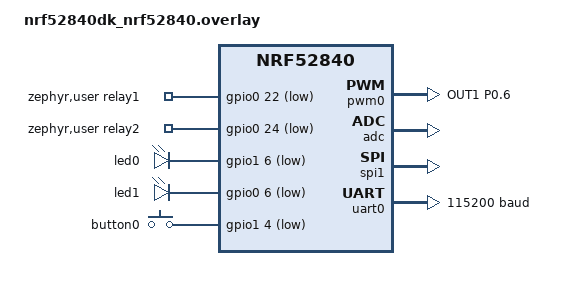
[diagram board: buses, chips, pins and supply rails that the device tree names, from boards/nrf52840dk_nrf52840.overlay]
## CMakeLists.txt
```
#
# Copyright (c) 2020 Nordic Semiconductor ASA
#
# SPDX-License-Identifier: LicenseRef-Nordic-5-Clause
#
cmake_minimum_required(VERSION 3.20.0)

find_package(Zephyr REQUIRED HINTS $ENV{ZEPHYR_BASE})

project(openthread_cli)

# NORDIC SDK APP START
target_sources(app PRIVATE src/main.c)
# NORDIC SDK APP END

target_sources_ifdef(CONFIG_CLI_SAMPLE_MULTIPROTOCOL app PRIVATE src/ble.c)
target_sources_ifdef(CONFIG_CLI_SAMPLE_LOW_POWER app PRIVATE src/low_power.c)
target_sources(app PRIVATE src/adc_task.c)
target_sources(app PRIVATE src/lcd_task.c)


if (CONFIG_CLI_SAMPLE_MULTIPROTOCOL AND CONFIG_OPENTHREAD_BLE_TCAT)
        message( FATAL_ERROR "Multiprotocol support and TCAT functionality are not compatible." )
endif()
```

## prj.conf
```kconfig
#
# Copyright (c) 2020 Nordic Semiconductor
#
# SPDX-License-Identifier: LicenseRef-Nordic-5-Clause
#

# Enable OpenThread
CONFIG_OPENTHREAD=y

# Network shell
CONFIG_SHELL=y
CONFIG_OPENTHREAD_SHELL=y
CONFIG_SHELL_ARGC_MAX=26
CONFIG_SHELL_CMD_BUFF_SIZE=416

# Increase Settings storage size
CONFIG_PM_PARTITION_SIZE_SETTINGS_STORAGE=0x8000

# Enable OpenThread features set
CONFIG_OPENTHREAD_NORDIC_LIBRARY_MASTER=y

CONFIG_GPIO_SHELL=y

# Logging configuration
CONFIG_LOG=y
# CONFIG_LOG_DEFAULT_LEVEL=4

# ADC configuration
CONFIG_ADC=y
CONFIG_ADC_LOG_LEVEL_DBG=y

# SPI configuration for LCD
CONFIG_SPI=y
CONFIG_GPIO=y

# CONFIG_CLI_SAMPLE_MULTIPROTOCOL=y
CONFIG_CLI_SAMPLE_LOW_POWER=y
CONFIG_PM_DEVICE=y

CONFIG_THREAD_ANALYZER=y
CONFIG_THREAD_ANALYZER_USE_PRINTK=y
# CONFIG_THREAD_ANALYZER_AUTO=y
# CONFIG_THREAD_ANALYZER_AUTO_INTERVAL=5 
```

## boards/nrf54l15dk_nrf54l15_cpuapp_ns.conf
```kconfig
#
# Copyright (c) 2024 Nordic Semiconductor
#
# SPDX-License-Identifier: LicenseRef-Nordic-5-Clause
#

# Disable the unsupported driver
CONFIG_NRFX_UARTE0=n

# Avoid double fault / lockup: main runs lcd_task_enable() with deep init stack
CONFIG_MAIN_STACK_SIZE=6144
CONFIG_SHELL_STACK_SIZE=5120
```

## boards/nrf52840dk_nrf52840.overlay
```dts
/*
 * Copyright (c) 2021-2022 Nordic Semiconductor ASA
 *
 * SPDX-License-Identifier: LicenseRef-Nordic-5-Clause
 */

 / {
	chosen {
		nordic,pm-ext-flash = &mx25r64;
	};

		/*
	* In some default configurations within the nRF Connect SDK,
	* e.g. on nRF52840, the chosen zephyr,entropy node is &cryptocell.
	* This devicetree overlay ensures that default is overridden wherever it
	* is set, as this application uses the RNG node for entropy exclusively.
	*/

	chosen {
		zephyr,entropy = &rng;
	};


	/*
	* By default, PWM module is only configured for led0 (LED1 on the board).
	* The light bulb app, however, uses LED2 to show the state of the lighting,
	* including its brightness level.
	*/
	aliases {
		pwm-led1 = &pwm_led1;
	};

	/* Relay control pins - use zephyr,user node for custom GPIO configuration */
	zephyr,user {
		relay1-gpios = <&gpio0 22 GPIO_ACTIVE_LOW>;
		relay2-gpios = <&gpio0 24 GPIO_ACTIVE_LOW>;
	};

	pwmleds {
		pwm_led1: pwm_led_1 {
			pwms = <&pwm0 1 PWM_MSEC(100) PWM_POLARITY_NORMAL>;
		};
	};

};

&pwm0 {
	pinctrl-0 = <&pwm0_default_alt>;
	pinctrl-1 = <&pwm0_sleep_alt>;
	pinctrl-names = "default", "sleep";
};

&pinctrl {
	pwm0_default_alt: pwm0_default_alt {
		group1 {
			psels = <NRF_PSEL(PWM_OUT1, 0, 6)>;
			nordic,invert;
		};
	};

	pwm0_sleep_alt: pwm0_sleep_alt {
		group1 {
			psels = <NRF_PSEL(PWM_OUT1, 0, 6)>;
			low-power-enable;
		};
	};

};

/* Disable unused peripherals to reduce power consumption */
&adc {
	status = "okay";
};
&uart1 {
	status = "disabled";
};
&i2c0 {
	status = "disabled";
};
/* Enable SPI1 for LCD display (ST7735S) */
&spi1 {
	status = "okay";
	compatible = "nordic,nrf-spim";
	pinctrl-0 = <&spi1_default>;
	pinctrl-names = "default";
	/* Note: Configure actual pins based on hardware connection
	 * Default pins for nRF52840DK:
	 * - SCK: P0.13
	 * - MOSI: P0.15
	 * - MISO: P0.14 (not used for LCD)
	 */
};
&spi3 {
	status = "disabled";
};
&usbd {
	status = "disabled";
};

&uart0 {
	current-speed = <115200>;
};

&led0 {
	gpios = <&gpio1 6 GPIO_ACTIVE_LOW>;
};
&led1 {
	gpios = <&gpio0 6 GPIO_ACTIVE_LOW>;
};
/* Disable led2 and led3 since they are now used as relay control pins */
&led2 {
	status = "disabled";
};

&led3 {
	status = "disabled";
};

&button0 {
	gpios = <&gpio1 4 GPIO_ACTIVE_LOW>;
	status = "okay";
};
```

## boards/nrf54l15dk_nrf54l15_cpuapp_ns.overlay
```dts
/*
 * Copyright (c) 2024 Nordic Semiconductor ASA
 *
 * SPDX-License-Identifier: LicenseRef-Nordic-5-Clause
 */

// restore full RRAM and SRAM space - by default some parts are dedicated to FLPR
&cpuapp_rram {
	reg = <0x0 DT_SIZE_K(1524)>;
};

&cpuapp_sram {
	reg = <0x20000000 DT_SIZE_K(256)>;
	ranges = <0x0 0x20000000 DT_SIZE_K(256)>;
};

&adc {
	status = "okay";
};

/* SPI21 for LCD (ST7735S): fixed hardware SCK=P0.4, MOSI=P0.3, MISO=P0.2.
 * Button3 moved to gpio2.8 below so P0.4 is free for SPI. */
&pinctrl {
	spi21_default: spi21_default {
		group1 {
			psels = <NRF_PSEL(SPIM_SCK, 1, 7)>,
				<NRF_PSEL(SPIM_MOSI, 1, 9)>,
				<NRF_PSEL(SPIM_MISO, 1, 14)>;
		};
	};
	spi21_sleep: spi21_sleep {
		group1 {
			psels = <NRF_PSEL(SPIM_SCK, 1, 7)>,
				<NRF_PSEL(SPIM_MOSI, 1, 9)>,
				<NRF_PSEL(SPIM_MISO, 1, 14)>;
				low-power-enable;
		};
	};

	uart20_default: uart20_default {
		group1 {
			psels = <NRF_PSEL(UART_TX, 1, 4)>;
				// <NRF_PSEL(UART_RTS, 1, 6)>;
		};

		group2 {
			psels = <NRF_PSEL(UART_RX, 1, 5)>;
				// <NRF_PSEL(UART_CTS, 1, 7)>;
			bias-pull-up;
		};
	};

	uart20_sleep: uart20_sleep {
		group1 {
			psels = <NRF_PSEL(UART_TX, 1, 4)>,
				<NRF_PSEL(UART_RX, 1, 5)>;
				// <NRF_PSEL(UART_RTS, 1, 6)>,
				// <NRF_PSEL(UART_CTS, 1, 7)>;
			low-power-enable;
		};
	};
};



&spi21 {
	status = "okay";
	cs-gpios = <&gpio1 6 GPIO_ACTIVE_LOW>;
	pinctrl-0 = <&spi21_default>;
	pinctrl-1 = <&spi21_sleep>;
	pinctrl-names = "default", "sleep";
};

/ {
	zephyr,user {
		io-channels = <&adc 3>, <&adc 5>;
	};
};

&button1 {
	status = "disabled";
};

&button3 {
	status = "disabled";
};

&pwm20 {
	status = "disabled";
};

&led1 {
	status = "disabled";
};

&led3 {
	status = "disabled";
};


&cpuapp_systick {
	status = "okay";
};
```

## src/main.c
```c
/*
 * Copyright (c) 2020 Nordic Semiconductor ASA
 *
 * SPDX-License-Identifier: LicenseRef-Nordic-5-Clause
 */

#include <zephyr/kernel.h>
#include <zephyr/logging/log.h>

#if defined(CONFIG_CLI_SAMPLE_MULTIPROTOCOL)
#include "ble.h"
#endif

#if defined(CONFIG_CLI_SAMPLE_LOW_POWER)
#include "low_power.h"
#endif

#include "adc_task.h"
#include "lcd_task.h"

#include <zephyr/drivers/uart.h>
#include <zephyr/usb/usb_device.h>

LOG_MODULE_REGISTER(cli_sample, CONFIG_OT_COMMAND_LINE_INTERFACE_LOG_LEVEL);

#define WELLCOME_TEXT \
	"\n\r"\
	"\n\r"\
	"OpenThread Command Line Interface is now running.\n\r" \
	"Use the 'ot' keyword to invoke OpenThread commands e.g. " \
	"'ot thread start.'\n\r" \
	"For the full commands list refer to the OpenThread CLI " \
	"documentation at:\n\r" \
	"https://github.com/openthread/openthread/blob/master/src/cli/README.md\n\r"

int main(void)
{
#if DT_NODE_HAS_COMPAT(DT_CHOSEN(zephyr_shell_uart), zephyr_cdc_acm_uart)
	int ret;
	const struct device *dev;
	uint32_t dtr = 0U;

	ret = usb_enable(NULL);
	if (ret != 0 && ret != -EALREADY) {
		LOG_ERR("Failed to enable USB");
		return 0;
	}

	dev = DEVICE_DT_GET(DT_CHOSEN(zephyr_shell_uart));
	if (dev == NULL) {
		LOG_ERR("Failed to find specific UART device");
		return 0;
	}

	LOG_INF("Waiting for host to be ready to communicate");

	/* Data Terminal Ready - check if host is ready to communicate */
	while (!dtr) {
		ret = uart_line_ctrl_get(dev, UART_LINE_CTRL_DTR, &dtr);
		if (ret) {
			LOG_ERR("Failed to get Data Terminal Ready line state: %d",
				ret);
			continue;
		}
		k_msleep(100);
	}

	/* Data Carrier Detect Modem - mark connection as established */
	(void)uart_line_ctrl_set(dev, UART_LINE_CTRL_DCD, 1);
	/* Data Set Ready - the NCP SoC is ready to communicate */
	(void)uart_line_ctrl_set(dev, UART_LINE_CTRL_DSR, 1);
#endif

	LOG_INF(WELLCOME_TEXT);

#if defined(CONFIG_CLI_SAMPLE_MULTIPROTOCOL)
	ble_enable();
#endif

#if defined(CONFIG_CLI_SAMPLE_LOW_POWER)
	low_power_enable();
#endif

	adc_task_enable();

	lcd_task_enable();

	return 0;
}
```

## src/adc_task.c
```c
/*
 * Copyright (c) 2024 Nordic Semiconductor ASA
 *
 * SPDX-License-Identifier: LicenseRef-Nordic-5-Clause
 */

#include <zephyr/kernel.h>
#include <zephyr/drivers/adc.h>
#include <zephyr/logging/log.h>
#include <zephyr/device.h>
#include <zephyr/dt-bindings/adc/nrf-saadc.h>
#include <zephyr/shell/shell.h>
#include <stdio.h>

#include "adc_task.h"

LOG_MODULE_REGISTER(adc_task, LOG_LEVEL_DBG);

#define ADC_NODE				DT_NODELABEL(adc)
#define ADC_RESOLUTION			12
#define ADC_GAIN				ADC_GAIN_1_3
#define ADC_REFERENCE			ADC_REF_INTERNAL
#define ADC_ACQUISITION_TIME	ADC_ACQ_TIME_DEFAULT
#define ADC_CHANNEL_4			3
#define ADC_CHANNEL_5			5
#define ADC_POLL_INTERVAL_MS	1000
#define CHANNEL_COUNT			2

static const struct device *adc_dev = DEVICE_DT_GET(ADC_NODE);

static struct adc_channel_cfg channel_cfgs[CHANNEL_COUNT] = {
	{
		.gain = ADC_GAIN,
		.reference = ADC_REFERENCE,
		.acquisition_time = ADC_ACQUISITION_TIME,
		.channel_id = ADC_CHANNEL_4,
		.differential = 0,
#ifdef CONFIG_ADC_CONFIGURABLE_INPUTS
		.input_positive = NRF_SAADC_AIN4,
#endif
	},
	{
		.gain = ADC_GAIN,
		.reference = ADC_REFERENCE,
		.acquisition_time = ADC_ACQUISITION_TIME,
		.channel_id = ADC_CHANNEL_5,
		.differential = 0,
#ifdef CONFIG_ADC_CONFIGURABLE_INPUTS
		.input_positive = NRF_SAADC_AIN5,
#endif
	}
};

static uint32_t vrefs_mv[CHANNEL_COUNT] = {0, 0};

static int16_t channel_reading[CHANNEL_COUNT];

/* Latest ADC values for shell command access */
static struct {
	int16_t raw[CHANNEL_COUNT];
	int32_t mv[CHANNEL_COUNT];
	bool valid[CHANNEL_COUNT];
	struct k_mutex mutex;
} adc_values;

static const struct adc_sequence_options options = {
	.extra_samplings = 0,
	.interval_us = 0,
};

static struct adc_sequence sequence = {
	.buffer = channel_reading,
	.buffer_size = sizeof(channel_reading),
	.resolution = ADC_RESOLUTION,
	.options = &options,
};

static void adc_task_thread(void *p1, void *p2, void *p3)
{
	int ret;
	uint32_t count = 0;

	if (!device_is_ready(adc_dev)) {
		printf("ADC controller device %s not ready\n", adc_dev->name);
		return;
	}

	/* Configure channels individually prior to sampling. */
	sequence.channels = 0;
	for (size_t i = 0U; i < CHANNEL_COUNT; i++) {
		sequence.channels |= BIT(channel_cfgs[i].channel_id);
		
		printf("Setting up ADC channel %d (index %u)...\n", 
		       channel_cfgs[i].channel_id, (unsigned int)i);
		
		ret = adc_channel_setup(adc_dev, &channel_cfgs[i]);
		if (ret != 0) {
			printf("Failed to setup channel %d (index %u), error: %d\n", 
			       channel_cfgs[i].channel_id, (unsigned int)i, ret);
			return;
		}
		
		printf("Channel %d setup successful\n", channel_cfgs[i].channel_id);
		
		if ((vrefs_mv[i] == 0) && (channel_cfgs[i].reference == ADC_REF_INTERNAL)) {
			vrefs_mv[i] = adc_ref_internal(adc_dev);
			printf("Internal reference voltage for channel %d: %u mV\n",
			       channel_cfgs[i].channel_id, vrefs_mv[i]);
		}
	}

	printf("ADC task started, polling channels 4 and 5 every %d ms\n",
		ADC_POLL_INTERVAL_MS);
	printf("ADC device: %s\n", adc_dev->name);

	while (1) {
		// printf("ADC sequence reading [%u]:\n", count++);
		k_msleep(ADC_POLL_INTERVAL_MS);

		ret = adc_read(adc_dev, &sequence);
		if (ret < 0) {
			printf("Could not read (%d)\n", ret);
			continue;
		}

		/* Update ADC values for shell command access */
		k_mutex_lock(&adc_values.mutex, K_FOREVER);
		for (size_t channel_index = 0U; channel_index < CHANNEL_COUNT; channel_index++) {
			int32_t val_mv = channel_reading[channel_index];

			/* Store raw value */
			adc_values.raw[channel_index] = channel_reading[channel_index];

			ret = adc_raw_to_millivolts(vrefs_mv[channel_index],
						    channel_cfgs[channel_index].gain,
						    ADC_RESOLUTION, &val_mv);

			/* Store converted value if available */
			if ((ret >= 0) && (vrefs_mv[channel_index] != 0)) {
				adc_values.mv[channel_index] = val_mv;
				adc_values.valid[channel_index] = true;
			} else {
				adc_values.valid[channel_index] = false;
			}
		}
		
		k_mutex_unlock(&adc_values.mutex);
	}
}

#define ADC_TASK_STACK_SIZE 1024
#define ADC_TASK_PRIORITY 5

/* Thread stack and control block */
K_THREAD_STACK_DEFINE(adc_task_stack, ADC_TASK_STACK_SIZE);
static struct k_thread adc_task_thread_data;
static bool adc_task_started = false;

static int cmd_adc_show(const struct shell *sh, size_t argc, char **argv)
{
	k_mutex_lock(&adc_values.mutex, K_FOREVER);
	
	shell_print(sh, "ADC Channel Values:");
	shell_print(sh, "===================");
	
	for (size_t i = 0U; i < CHANNEL_COUNT; i++) {
		shell_print(sh, "Channel %d:", channel_cfgs[i].channel_id);
		shell_print(sh, "  Raw value: %d", adc_values.raw[i]);
		
		if (adc_values.valid[i]) {
			shell_print(sh, "  Voltage: %d mV", adc_values.mv[i]);
		} else {
			shell_print(sh, "  Voltage: (not available)");
		}
	}
	
	k_mutex_unlock(&adc_values.mutex);
	
	thread_analyzer_print();
	return 0;
}

SHELL_CMD_REGISTER(adc, NULL, "Show ADC channel values", cmd_adc_show);

size_t adc_task_get_values(int16_t *raw, int32_t *mv, bool *valid, size_t max_count)
{
	size_t n = (max_count < CHANNEL_COUNT) ? max_count : CHANNEL_COUNT;

	if (raw == NULL && mv == NULL && valid == NULL) {
		return n;
	}

	k_mutex_lock(&adc_values.mutex, K_FOREVER);
	for (size_t i = 0; i < n; i++) {
		if (raw != NULL) {
			raw[i] = adc_values.raw[i];
		}
		if (mv != NULL) {
			mv[i] = adc_values.mv[i];
		}
		if (valid != NULL) {
			valid[i] = adc_values.valid[i];
		}
	}
	k_mutex_unlock(&adc_values.mutex);

	return n;
}

void adc_task_enable(void)
{
	if (adc_task_started) {
		printf("ADC task already started\n");
		return;
	}

	/* Initialize mutex for ADC values */
	k_mutex_init(&adc_values.mutex);
	
	/* Initialize ADC values */
	for (size_t i = 0U; i < CHANNEL_COUNT; i++) {
		adc_values.valid[i] = false;
		adc_values.raw[i] = 0;
		adc_values.mv[i] = 0;
	}

	/* Create and start the ADC task thread */
	k_thread_create(&adc_task_thread_data, adc_task_stack,
			K_THREAD_STACK_SIZEOF(adc_task_stack),
			adc_task_thread, NULL, NULL, NULL,
			ADC_TASK_PRIORITY, 0, K_NO_WAIT);
	
	k_thread_name_set(&adc_task_thread_data, "adc_task");
	adc_task_started = true;
	printf("ADC task enabled and started\n");
}
```

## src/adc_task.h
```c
/**
 * @file
 * @defgroup adc_task ADC Task API
 * @{
 */

/*
 * Copyright (c) 2024 Nordic Semiconductor ASA
 *
 * SPDX-License-Identifier: LicenseRef-Nordic-5-Clause
 */

#ifndef __ADC_TASK_H__
#define __ADC_TASK_H__

#include <stddef.h>
#include <stdint.h>
#include <stdbool.h>

#define ADC_TASK_CHANNEL_COUNT 2

/** @brief Initialize and start ADC polling task.
 */
void adc_task_enable(void);

/** @brief Get latest ADC values (raw, mV, valid). Caller provides arrays of at least max_count.
 *  @return Number of channels copied (min of max_count and ADC_TASK_CHANNEL_COUNT).
 */
size_t adc_task_get_values(int16_t *raw, int32_t *mv, bool *valid, size_t max_count);

#endif

/**
 * @}
 */
```

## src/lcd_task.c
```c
/*
 * Copyright (c) 2024 Nordic Semiconductor ASA
 *
 * SPDX-License-Identifier: LicenseRef-Nordic-5-Clause
 */

#include <zephyr/kernel.h>
#include <zephyr/drivers/spi.h>
#include <zephyr/drivers/gpio.h>
#include <zephyr/logging/log.h>
#include <zephyr/device.h>
#include <zephyr/shell/shell.h>
#include <stdio.h>
#include <string.h>

#include "lcd_task.h"
#include "adc_task.h"

LOG_MODULE_REGISTER(lcd_task, LOG_LEVEL_DBG);

/* 5x7 字体：每字符 5 列 x 7 行，5 字节/字符(列主序，每字节 bit0=上)。仅含 0-9 空格 C h : m V . - */
#define FONT_W  5
#define FONT_H  7
static const uint8_t font_5x7[][5] = {
	{ 0x00, 0x00, 0x00, 0x00, 0x00 }, /* space */
	{ 0x7B, 0x45, 0x45, 0x45, 0x7B }, /* 0 */
	{ 0x00, 0x42, 0x7F, 0x40, 0x00 }, /* 1 */
	{ 0x62, 0x51, 0x49, 0x49, 0x46 }, /* 2 */
	{ 0x22, 0x49, 0x49, 0x49, 0x36 }, /* 3 */
	{ 0x18, 0x14, 0x12, 0x7F, 0x10 }, /* 4 */
	{ 0x27, 0x45, 0x45, 0x45, 0x39 }, /* 5 */
	{ 0x3E, 0x49, 0x49, 0x49, 0x32 }, /* 6 */
	{ 0x01, 0x71, 0x09, 0x05, 0x03 }, /* 7 */
	{ 0x36, 0x49, 0x49, 0x49, 0x36 }, /* 8 */
	{ 0x26, 0x49, 0x49, 0x49, 0x3E }, /* 9 */
	{ 0x3E, 0x41, 0x41, 0x41, 0x22 }, /* C */
	{ 0x7F, 0x08, 0x04, 0x04, 0x78 }, /* h */
	{ 0x00, 0x36, 0x36, 0x00, 0x00 }, /* : */
	{ 0x7C, 0x04, 0x78, 0x04, 0x78 }, /* m */
	{ 0x1C, 0x20, 0x40, 0x20, 0x1C }, /* V */
	{ 0x00, 0x60, 0x60, 0x00, 0x00 }, /* . */
	{ 0x08, 0x08, 0x08, 0x08, 0x08 }, /* - */
};
#define FONT_INDEX_SPACE 0
#define FONT_INDEX_0     1
#define FONT_INDEX_9     10
#define FONT_INDEX_C    11
#define FONT_INDEX_h    12
#define FONT_INDEX_COL  13
#define FONT_INDEX_m    14
#define FONT_INDEX_V    15
#define FONT_INDEX_DOT  16
#define FONT_INDEX_MINUS 17

static uint8_t char_to_font_index(char c)
{
	if (c == ' ') return FONT_INDEX_SPACE;
	if (c >= '0' && c <= '9') return FONT_INDEX_0 + (c - '0');
	if (c == 'C') return FONT_INDEX_C;
	if (c == 'h') return FONT_INDEX_h;
	if (c == ':') return FONT_INDEX_COL;
	if (c == 'm') return FONT_INDEX_m;
	if (c == 'V') return FONT_INDEX_V;
	if (c == '.') return FONT_INDEX_DOT;
	if (c == '-') return FONT_INDEX_MINUS;
	return FONT_INDEX_SPACE;
}

/* LCD尺寸定义 (逻辑宽高，与 MADCTL 方向一致) */
#define LCD_WIDTH  160
#define LCD_HEIGHT 80

/* ST7735S 160x80 常见模块：控制器 80 列 x 160 行，MV=1 时显示为 160x80。
 * 列/行偏移：多数 0.96 寸模块为 col_offset=26, row_offset=1，仅右半屏时请试 26/1 或 24/0。 */
#define LCD_COL_OFFSET  26
#define LCD_ROW_OFFSET  1

/* ST7735S命令定义 */
#define ST7735_NOP        0x00
#define ST7735_SWRESET    0x01
#define ST7735_RDDID      0x04
#define ST7735_RDDST      0x09
#define ST7735_SLPIN      0x10
#define ST7735_SLPOUT     0x11
#define ST7735_PTLON      0x12
#define ST7735_NORON      0x13
#define ST7735_INVOFF     0x20
#define ST7735_INVON      0x21
#define ST7735_DISPOFF    0x28
#define ST7735_DISPON     0x29
#define ST7735_CASET      0x2A
#define ST7735_RASET      0x2B
#define ST7735_RAMWR      0x2C
#define ST7735_RAMRD      0x2E
#define ST7735_PTLAR      0x30
#define ST7735_COLMOD     0x3A
#define ST7735_MADCTL     0x36
#define ST7735_FRMCTR1    0xB1
#define ST7735_FRMCTR2    0xB2
#define ST7735_FRMCTR3    0xB3
#define ST7735_INVCTR     0xB4
#define ST7735_DISSET5    0xB6
#define ST7735_PWCTR1     0xC0
#define ST7735_PWCTR2     0xC1
#define ST7735_PWCTR3     0xC2
#define ST7735_PWCTR4     0xC3
#define ST7735_PWCTR5     0xC4
#define ST7735_VMCTR1     0xC5
#define ST7735_RDID1      0xDA
#define ST7735_RDID2      0xDB
#define ST7735_RDID3      0xDC
#define ST7735_RDID4      0xDD
#define ST7735_PWCTR6     0xFC
#define ST7735_GMCTRP1    0xE0
#define ST7735_GMCTRN1    0xE1

/* 颜色定义 (RGB565格式) */
#define COLOR_BLACK       0x0000
#define COLOR_BLUE        0x001F
#define COLOR_RED         0xF800
#define COLOR_GREEN       0x07E0
#define COLOR_CYAN        0x07FF
#define COLOR_MAGENTA     0xF81F
#define COLOR_YELLOW      0xFFE0
#define COLOR_WHITE       0xFFFF

/* 设备树节点定义 - 需要在overlay文件中配置 */
/* 对于nRF54L15使用spi20，对于nRF52840使用spi1 */
#if DT_NODE_EXISTS(DT_NODELABEL(spi21))
#define SPI_NODE           DT_NODELABEL(spi21)
#elif DT_NODE_EXISTS(DT_NODELABEL(spi1))
#define SPI_NODE           DT_NODELABEL(spi1)
#else
#error "No suitable SPI device found. Please configure SPI in device tree."
#endif
/* GPIO节点 - 对于nRF54L15使用gpio00，对于nRF52840使用gpio0 */
#if DT_NODE_EXISTS(DT_NODELABEL(gpio1))
#define GPIO_NODE          DT_NODELABEL(gpio1)
#elif DT_NODE_EXISTS(DT_NODELABEL(gpio0))
#define GPIO_NODE          DT_NODELABEL(gpio0)
#else
#error "No suitable GPIO device found."
#endif

/* GPIO引脚定义 - 需要在overlay文件中配置，这里使用默认值 */
/* 用户需要根据实际硬件连接修改这些引脚号 */
#define LCD_CS_PIN         6
#define LCD_DC_PIN         10
#define LCD_RST_PIN        11

static const struct device *spi_dev = DEVICE_DT_GET(SPI_NODE);
static const struct device *gpio_dev = DEVICE_DT_GET(GPIO_NODE);

/* ST7735S 4-line SPI: TSCYCW min 66ns -> max 15MHz (Section 8.4 Table 7);
 * SDA sampled at SCL rising edge -> Mode 0 (CPOL=0, CPHA=0), MSB first.
 */
static struct spi_config spi_cfg = {
	.frequency = 8000000,  /* 15 MHz, datasheet max for write (1/66ns) */
	.operation = SPI_OP_MODE_MASTER | SPI_WORD_SET(8) | SPI_TRANSFER_MSB,
};

static bool lcd_initialized = false;

/* 发送命令 */
static void lcd_write_cmd(uint8_t cmd)
{
	struct spi_buf tx_buf = {
		.buf = &cmd,
		.len = 1,
	};
	struct spi_buf_set tx_buf_set = {
		.buffers = &tx_buf,
		.count = 1,
	};

	/* CS拉低 */
	gpio_pin_set_raw(gpio_dev, LCD_CS_PIN, 0);
	/* DC = 0 for command */
	gpio_pin_set_raw(gpio_dev, LCD_DC_PIN, 0);
	
	spi_write(spi_dev, &spi_cfg, &tx_buf_set);
	
	/* CS拉高 */
	gpio_pin_set_raw(gpio_dev, LCD_CS_PIN, 1);
}

/* 发送数据 */
static void lcd_write_data(uint8_t data)
{
	struct spi_buf tx_buf = {
		.buf = &data,
		.len = 1,
	};
	struct spi_buf_set tx_buf_set = {
		.buffers = &tx_buf,
		.count = 1,
	};

	/* CS拉低 */
	gpio_pin_set_raw(gpio_dev, LCD_CS_PIN, 0);
	/* DC = 1 for data */
	gpio_pin_set_raw(gpio_dev, LCD_DC_PIN, 1);
	
	spi_write(spi_dev, &spi_cfg, &tx_buf_set);
	
	/* CS拉高 */
	gpio_pin_set_raw(gpio_dev, LCD_CS_PIN, 1);
}

/* 发送多个数据字节 */
static void lcd_write_data_buf(const uint8_t *data, size_t len)
{
	struct spi_buf tx_buf = {
		.buf = (void *)data,
		.len = len,
	};
	struct spi_buf_set tx_buf_set = {
		.buffers = &tx_buf,
		.count = 1,
	};

	/* CS拉低 */
	gpio_pin_set_raw(gpio_dev, LCD_CS_PIN, 0);
	/* DC = 1 for data */
	gpio_pin_set_raw(gpio_dev, LCD_DC_PIN, 1);
	
	spi_write(spi_dev, &spi_cfg, &tx_buf_set);
	
	/* CS拉高 */
	gpio_pin_set_raw(gpio_dev, LCD_CS_PIN, 1);
}

/* 设置显示窗口。MADCTL 0xC8 含 MV=1，逻辑 x=控制器行、y=控制器列，故 CASET 用 y、RASET 用 x，并加偏移。 */
static void lcd_set_window(uint8_t x0, uint8_t y0, uint8_t x1, uint8_t y1)
{
	uint8_t cs0 = LCD_COL_OFFSET + y0;
	uint8_t cs1 = LCD_COL_OFFSET + y1;
	uint8_t rs0 = LCD_ROW_OFFSET + x0;
	uint8_t rs1 = LCD_ROW_OFFSET + x1;

	lcd_write_cmd(ST7735_CASET);
	lcd_write_data(0x00);
	lcd_write_data(cs0);
	lcd_write_data(0x00);
	lcd_write_data(cs1);

	lcd_write_cmd(ST7735_RASET);
	lcd_write_data(0x00);
	lcd_write_data(rs0);
	lcd_write_data(0x00);
	lcd_write_data(rs1);

	lcd_write_cmd(ST7735_RAMWR);
}

/* 填充矩形区域 */
static void lcd_fill_rect(uint8_t x, uint8_t y, uint8_t w, uint8_t h, uint16_t color)
{
	uint8_t x1 = x + w - 1;
	uint8_t y1 = y + h - 1;
	uint32_t pixel_count = w * h;
	uint8_t color_bytes[2] = {(color >> 8) & 0xFF, color & 0xFF};

	if (x1 >= LCD_WIDTH || y1 >= LCD_HEIGHT) {
		return;
	}

	lcd_set_window(x, y, x1, y1);

	/* 使用静态缓冲区，避免动态分配内存 */
	#define MAX_BUF_SIZE 320  /* 160像素 * 2字节 */
	static uint8_t buffer[MAX_BUF_SIZE];
	uint32_t bytes_to_send = pixel_count * 2;
	uint32_t offset = 0;

	/* 分批发送数据，避免缓冲区溢出 */
	while (offset < bytes_to_send) {
		uint32_t chunk_size = (bytes_to_send - offset > MAX_BUF_SIZE) ? 
		                      MAX_BUF_SIZE : (bytes_to_send - offset);
		uint32_t pixels_in_chunk = chunk_size / 2;

		/* 填充缓冲区 */
		for (uint32_t i = 0; i < pixels_in_chunk; i++) {
			buffer[i * 2] = color_bytes[0];
			buffer[i * 2 + 1] = color_bytes[1];
		}

		/* 发送数据 */
		lcd_write_data_buf(buffer, chunk_size);
		offset += chunk_size;
	}
}

/* 清屏 */
static void lcd_clear(uint16_t color)
{
	lcd_fill_rect(0, 0, LCD_WIDTH, LCD_HEIGHT, color);
}

/* 画单字符 5x7，左上角 (x,y)，fg/bg 为 RGB565。
 * MADCTL 0xC8：MX=1 使逻辑列小的一侧显示在右，故对“绘制列位置”做镜像；MY=1 用反序送行补偿。 */
static void lcd_draw_char(uint8_t x, uint8_t y, char c, uint16_t fg, uint16_t bg)
{
	uint8_t idx = char_to_font_index(c);
	static uint8_t col_buf[FONT_H * 2];

	for (uint8_t col = 0; col < FONT_W; col++) {
		uint8_t bits = font_5x7[idx][col];  /* 字模列按正常顺序读 */
		/* 左右镜像：MX=1 时小 x 显示在右，故字模左列(col=0)画到 x+4，右列(col=4)画到 x+0 */
		uint8_t draw_col = col;
		/* 上下镜像：MY=1 时先送像素显示在下，送像素顺序为 row 6..0 */
		for (uint8_t i = 0; i < FONT_H; i++) {
			uint8_t row = FONT_H - 1 - i;
			uint16_t color = (bits & (1U << row)) ? fg : bg;
			col_buf[i * 2] = (color >> 8) & 0xFF;
			col_buf[i * 2 + 1] = color & 0xFF;
		}
		lcd_set_window(x + draw_col, y, x + draw_col, y + FONT_H - 1);
		lcd_write_data_buf(col_buf, sizeof(col_buf));
	}
}

/* 画字符串，左上角 (x,y)，fg/bg RGB565，字符间距 1 像素 */
static void lcd_draw_string(uint8_t x, uint8_t y, const char *str, uint16_t fg, uint16_t bg)
{
	while (*str && x + FONT_W <= LCD_WIDTH) {
		lcd_draw_char(x, y, *str++, fg, bg);
		x += FONT_W + 1;
	}
}

/* ADC 显示区域：物理顶部 22 像素，两行文字。MADCTL MY=1 时逻辑 y 小在屏下方，故用偏移使区域在屏顶 */
#define ADC_DISPLAY_HEIGHT  22
#define ADC_LINE0_Y         2
#define ADC_LINE1_Y         12
#define ADC_DISPLAY_Y_OFFSET  (LCD_HEIGHT - ADC_DISPLAY_HEIGHT)  /* 58：区域放在逻辑顶部=物理底部之上 */

/* 将当前 ADC 采样值显示到 LCD 物理顶部 */
void lcd_show_adc(void)
{
	int16_t raw[ADC_TASK_CHANNEL_COUNT];
	int32_t mv[ADC_TASK_CHANNEL_COUNT];
	bool valid[ADC_TASK_CHANNEL_COUNT];
	char buf[20];
	static const uint8_t channel_ids[] = { 4, 5 }; /* 与 overlay io-channels 一致 */

	if (!lcd_initialized) {
		return;
	}

	adc_task_get_values(raw, mv, valid, ADC_TASK_CHANNEL_COUNT);

	/* 清空显示区域（在物理顶部，即逻辑 y 大的一端） */
	lcd_fill_rect(0, ADC_DISPLAY_Y_OFFSET, LCD_WIDTH, ADC_DISPLAY_HEIGHT, COLOR_BLACK);

	for (size_t i = 0; i < ADC_TASK_CHANNEL_COUNT; i++) {
		uint8_t line_y = (i == 0) ? ADC_LINE0_Y : ADC_LINE1_Y;
		uint8_t y = ADC_DISPLAY_Y_OFFSET + line_y;
		if (valid[i]) {
			snprintf(buf, sizeof(buf), "Ch%u: %d mV", (unsigned)channel_ids[i], (int)mv[i]);
		} else {
			snprintf(buf, sizeof(buf), "Ch%u: -- mV", (unsigned)channel_ids[i]);
		}
		lcd_draw_string(2, y, buf, COLOR_WHITE, COLOR_BLACK);
	}
}

static void adc_display_work_handler(struct k_work *work);
static K_WORK_DELAYABLE_DEFINE(adc_display_work, adc_display_work_handler);

static void adc_display_work_handler(struct k_work *work)
{
	if (lcd_initialized) {
		lcd_show_adc();
	}
	k_work_schedule(&adc_display_work, K_MSEC(1000));
}

/* ST7735S初始化序列 */
static void lcd_init_sequence(void)
{
	/* 硬件复位 */
	gpio_pin_set_raw(gpio_dev, LCD_RST_PIN, 0);
	k_msleep(10);
	gpio_pin_set_raw(gpio_dev, LCD_RST_PIN, 1);
	k_msleep(120);

	/* 软件复位 */
	lcd_write_cmd(ST7735_SWRESET);
	k_msleep(150);

	/* 退出睡眠模式 */
	lcd_write_cmd(ST7735_SLPOUT);
	k_msleep(120);

	/* 帧率控制 */
	lcd_write_cmd(ST7735_FRMCTR1);
	lcd_write_data(0x01);
	lcd_write_data(0x2C);
	lcd_write_data(0x2D);

	lcd_write_cmd(ST7735_FRMCTR2);
	lcd_write_data(0x01);
	lcd_write_data(0x2C);
	lcd_write_data(0x2D);

	lcd_write_cmd(ST7735_FRMCTR3);
	lcd_write_data(0x01);
	lcd_write_data(0x2C);
	lcd_write_data(0x2D);
	lcd_write_data(0x01);
	lcd_write_data(0x2C);
	lcd_write_data(0x2D);

	/* 显示反转控制 */
	lcd_write_cmd(ST7735_INVCTR);
	lcd_write_data(0x07);

	/* 电源控制 */
	lcd_write_cmd(ST7735_PWCTR1);
	lcd_write_data(0xA2);
	lcd_write_data(0x02);
	lcd_write_data(0x84);

	lcd_write_cmd(ST7735_PWCTR2);
	lcd_write_data(0xC5);

	lcd_write_cmd(ST7735_PWCTR3);
	lcd_write_data(0x0A);
	lcd_write_data(0x00);

	lcd_write_cmd(ST7735_PWCTR4);
	lcd_write_data(0x8A);
	lcd_write_data(0x2A);

	lcd_write_cmd(ST7735_PWCTR5);
	lcd_write_data(0x8A);
	lcd_write_data(0xEE);

	/* VCOM控制 */
	lcd_write_cmd(ST7735_VMCTR1);
	lcd_write_data(0x0E);

	/* 关闭反转 */
	lcd_write_cmd(ST7735_INVOFF);

	/* 颜色模式 - RGB565 */
	lcd_write_cmd(ST7735_COLMOD);
	lcd_write_data(0x05);

	/* 内存访问控制 */
	lcd_write_cmd(ST7735_MADCTL);
	lcd_write_data(0x08);

	/* 列/行地址：160x80 时控制器为 80 列 x 160 行(MV=1)，加偏移使可见区居中 */
	lcd_write_cmd(ST7735_CASET);
	lcd_write_data(0x00);
	lcd_write_data(LCD_COL_OFFSET);
	lcd_write_data(0x00);
	lcd_write_data(LCD_COL_OFFSET + LCD_HEIGHT - 1);  /* 80 列: 26..105 */

	lcd_write_cmd(ST7735_RASET);
	lcd_write_data(0x00);
	lcd_write_data(LCD_ROW_OFFSET);
	lcd_write_data(0x00);
	lcd_write_data(LCD_ROW_OFFSET + LCD_WIDTH - 1);   /* 160 行: 1..160 */

	/* Gamma设置 */
	lcd_write_cmd(ST7735_GMCTRP1);
	lcd_write_data(0x02);
	lcd_write_data(0x1C);
	lcd_write_data(0x07);
	lcd_write_data(0x12);
	lcd_write_data(0x37);
	lcd_write_data(0x32);
	lcd_write_data(0x29);
	lcd_write_data(0x2D);
	lcd_write_data(0x29);
	lcd_write_data(0x25);
	lcd_write_data(0x2B);
	lcd_write_data(0x39);
	lcd_write_data(0x00);
	lcd_write_data(0x01);
	lcd_write_data(0x03);
	lcd_write_data(0x10);

	lcd_write_cmd(ST7735_GMCTRN1);
	lcd_write_data(0x03);
	lcd_write_data(0x1D);
	lcd_write_data(0x07);
	lcd_write_data(0x06);
	lcd_write_data(0x2E);
	lcd_write_data(0x2C);
	lcd_write_data(0x29);
	lcd_write_data(0x2D);
	lcd_write_data(0x2E);
	lcd_write_data(0x2E);
	lcd_write_data(0x37);
	lcd_write_data(0x3F);
	lcd_write_data(0x00);
	lcd_write_data(0x00);
	lcd_write_data(0x02);
	lcd_write_data(0x10);

	/* 正常显示模式 */
	lcd_write_cmd(ST7735_NORON);
	k_msleep(10);

	/* 显示开启 */
	lcd_write_cmd(ST7735_DISPON);
	k_msleep(100);
}

/* 初始化LCD */
static int lcd_init(void)
{
	int ret;

	/* 检查SPI设备 */
	if (!device_is_ready(spi_dev)) {
		LOG_ERR("SPI device not ready");
		return -ENODEV;
	}
	
	/* 检查GPIO设备 */
	if (!device_is_ready(gpio_dev)) {
		LOG_ERR("GPIO device not ready");
		return -ENODEV;
	}

	/* 配置GPIO */
	ret = gpio_pin_configure(gpio_dev, LCD_CS_PIN, GPIO_OUTPUT_INACTIVE);
	if (ret < 0) {
		LOG_ERR("Failed to configure CS GPIO: %d", ret);
		return ret;
	}

	ret = gpio_pin_configure(gpio_dev, LCD_DC_PIN, GPIO_OUTPUT_INACTIVE);
	if (ret < 0) {
		LOG_ERR("Failed to configure DC GPIO: %d", ret);
		return ret;
	}

	ret = gpio_pin_configure(gpio_dev, LCD_RST_PIN, GPIO_OUTPUT_INACTIVE);
	if (ret < 0) {
		LOG_ERR("Failed to configure RST GPIO: %d", ret);
		return ret;
	}

	/* 初始状态：CS高电平，DC低电平，RST高电平 */
	gpio_pin_set_raw(gpio_dev, LCD_CS_PIN, 1);
	gpio_pin_set_raw(gpio_dev, LCD_DC_PIN, 0);
	gpio_pin_set_raw(gpio_dev, LCD_RST_PIN, 1);

	/* 初始化序列 */
	lcd_init_sequence();

	lcd_initialized = true;
	LOG_INF("LCD initialized successfully");
	return 0;
}

/* LCD测试函数 */
void lcd_test(void)
{
	if (!lcd_initialized) {
		LOG_ERR("LCD not initialized. Call lcd_task_enable() first.");
		return;
	}

	LOG_INF("Starting LCD test...");

	/* 测试1: 清屏 - 红色 */
	LOG_INF("Test 1: Fill screen with RED");
	lcd_clear(COLOR_RED);
	k_msleep(1000);

	/* 测试2: 清屏 - 绿色 */
	LOG_INF("Test 2: Fill screen with GREEN");
	lcd_clear(COLOR_GREEN);
	k_msleep(1000);

	/* 测试3: 清屏 - 蓝色 */
	LOG_INF("Test 3: Fill screen with BLUE");
	lcd_clear(COLOR_BLUE);
	k_msleep(1000);

	/* 测试4: 清屏 - 白色 */
	LOG_INF("Test 4: Fill screen with WHITE");
	lcd_clear(COLOR_WHITE);
	k_msleep(1000);

	/* 测试5: 彩色条纹 */
	LOG_INF("Test 5: Color stripes");
	lcd_fill_rect(0, 0, LCD_WIDTH, 16, COLOR_RED);
	lcd_fill_rect(0, 16, LCD_WIDTH, 16, COLOR_GREEN);
	lcd_fill_rect(0, 32, LCD_WIDTH, 16, COLOR_BLUE);
	lcd_fill_rect(0, 48, LCD_WIDTH, 16, COLOR_YELLOW);
	lcd_fill_rect(0, 64, LCD_WIDTH, 16, COLOR_CYAN);
	k_msleep(2000);

	/* 测试6: 彩色方块 */
	LOG_INF("Test 6: Color squares");
	uint8_t square_size = 40;
	uint8_t x_offset = (LCD_WIDTH - square_size * 4) / 2;
	uint8_t y_offset = (LCD_HEIGHT - square_size * 2) / 2;
	
	lcd_fill_rect(x_offset, y_offset, square_size, square_size, COLOR_RED);
	lcd_fill_rect(x_offset + square_size, y_offset, square_size, square_size, COLOR_GREEN);
	lcd_fill_rect(x_offset + square_size * 2, y_offset, square_size, square_size, COLOR_BLUE);
	lcd_fill_rect(x_offset + square_size * 3, y_offset, square_size, square_size, COLOR_YELLOW);
	
	lcd_fill_rect(x_offset, y_offset + square_size, square_size, square_size, COLOR_CYAN);
	lcd_fill_rect(x_offset + square_size, y_offset + square_size, square_size, square_size, COLOR_MAGENTA);
	lcd_fill_rect(x_offset + square_size * 2, y_offset + square_size, square_size, square_size, COLOR_WHITE);
	lcd_fill_rect(x_offset + square_size * 3, y_offset + square_size, square_size, square_size, COLOR_BLACK);
	k_msleep(2000);

	/* 测试7: 渐变效果 */
	LOG_INF("Test 7: Gradient effect");
	for (int i = 0; i < LCD_WIDTH; i++) {
		uint16_t color = ((i * 31 / LCD_WIDTH) << 11) | ((i * 63 / LCD_WIDTH) << 5) | (i * 31 / LCD_WIDTH);
		lcd_fill_rect(i, 0, 1, LCD_HEIGHT, color);
	}
	k_msleep(2000);

	/* 测试8: 最终清屏 - 黑色 */
	LOG_INF("Test 8: Clear screen to BLACK");
	lcd_clear(COLOR_BLACK);
	
	LOG_INF("LCD test completed!");
}

/* Shell命令：LCD测试 */
static int cmd_lcd_test(const struct shell *sh, size_t argc, char **argv)
{
	if (!lcd_initialized) {
		shell_print(sh, "LCD not initialized. Please enable LCD first.");
		return -1;
	}

	lcd_test();
	shell_print(sh, "LCD test completed!");
	return 0;
}

SHELL_CMD_REGISTER(lcd_test, NULL, "Test LCD display", cmd_lcd_test);

/* Shell命令：LCD清屏 */
static int cmd_lcd_clear(const struct shell *sh, size_t argc, char **argv)
{
	uint16_t color = COLOR_BLACK;

	if (!lcd_initialized) {
		shell_print(sh, "LCD not initialized. Please enable LCD first.");
		return -1;
	}

	if (argc > 1) {
		if (strcmp(argv[1], "red") == 0) {
			color = COLOR_RED;
		} else if (strcmp(argv[1], "green") == 0) {
			color = COLOR_GREEN;
		} else if (strcmp(argv[1], "blue") == 0) {
			color = COLOR_BLUE;
		} else if (strcmp(argv[1], "white") == 0) {
			color = COLOR_WHITE;
		} else if (strcmp(argv[1], "black") == 0) {
			color = COLOR_BLACK;
		}
	}

	lcd_clear(color);
	shell_print(sh, "LCD cleared with color: 0x%04X", color);
	return 0;
}

SHELL_CMD_REGISTER(lcd_clear, NULL, "Clear LCD screen [red|green|blue|white|black]", cmd_lcd_clear);

void lcd_task_enable(void)
{
	int ret;

	if (lcd_initialized) {
		LOG_INF("LCD already initialized");
		return;
	}

	ret = lcd_init();
	if (ret < 0) {
		LOG_ERR("Failed to initialize LCD: %d", ret);
		return;
	}

	/* 启动 ADC 值定时刷新到 LCD（每 1s） */
	k_work_schedule(&adc_display_work, K_MSEC(500));

	LOG_INF("LCD task enabled");
}
```

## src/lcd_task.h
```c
/**
 * @file
 * @defgroup lcd_task LCD Task API
 * @{
 */

/*
 * Copyright (c) 2024 Nordic Semiconductor ASA
 *
 * SPDX-License-Identifier: LicenseRef-Nordic-5-Clause
 */

#ifndef __LCD_TASK_H__
#define __LCD_TASK_H__

/** @brief Initialize and start LCD display.
 */
void lcd_task_enable(void);

/** @brief Test LCD display with various patterns.
 */
void lcd_test(void);

/** @brief Refresh LCD with current ADC values (Ch4/Ch5 mV). Called by internal timer or shell.
 */
void lcd_show_adc(void);

#endif

/**
 * @}
 */
```
